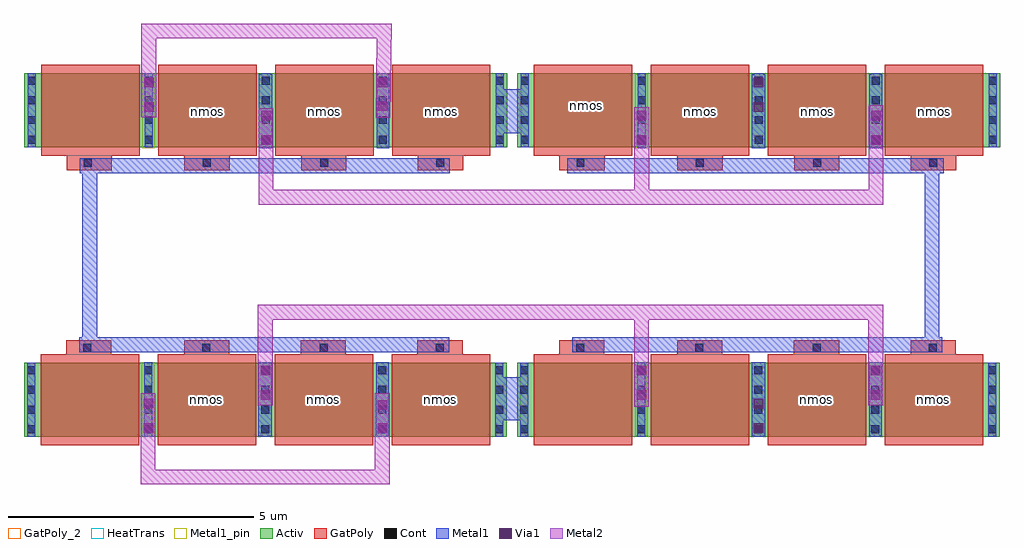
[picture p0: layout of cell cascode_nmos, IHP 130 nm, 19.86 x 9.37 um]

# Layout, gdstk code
import gdstk
lib = gdstk.Library(unit=1e-6, precision=1e-09)
def R(c, l, rs):  # rectangles x0, y0, x1, y1
    for r in rs: c.add(gdstk.rectangle(r[:2], r[2:], *l))
def A(c, l, x, y, w, h, nx, ny, dx, dy):  # array of equal rectangles
    R(c, l, [(x+i*dx, y+j*dy, x+i*dx+w, y+j*dy+h) for i in range(nx) for j in range(ny)])
Activ = (1, 0)
GatPoly = (5, 0)
GatPoly_2 = (5, 2)
Cont = (6, 0)
Metal1 = (8, 0)
Metal1_pin = (8, 2)
Metal2 = (10, 0)
Via1 = (19, 0)
HeatTrans = (51, 0)

nmos_2 = lib.new_cell('nmos$2')
A(nmos_2, Activ, 0, 0, 0.3, 0.3, 5, 1, 2.38, 0)
R(nmos_2, Activ, [(0,0,9.82,1.5)])
A(nmos_2, GatPoly, 0.34, -0.18, 2, 1.86, 4, 1, 2.38, 0)
R(nmos_2, GatPoly_2, [(0.34,-0.18,2.34,1.68)])
A(nmos_2, Cont, 0.07, 0.07, 0.16, 0.16, 5, 4, 2.38, 0.4)
A(nmos_2, Metal1, 0.07, 0, 0.16, 1.5, 5, 1, 2.38, 0)
R(nmos_2, Metal1_pin, [(0.07,0,0.23,1.5), (2.45,0,2.61,1.5)])
A(nmos_2, HeatTrans, 0.34, -0.18, 2, 1.86, 4, 1, 2.38, 0)
nmos_2.add(gdstk.Label('nmos', (1.34,0.75), layer=63, texttype=0))
nmos_2.add(gdstk.Label('nmos', (1.34,0.75), layer=51, texttype=0))
nmos_2.add(gdstk.Label('nmos', (3.72,0.75), layer=51, texttype=0))
nmos_2.add(gdstk.Label('nmos', (6.1,0.75), layer=51, texttype=0))
nmos_2.add(gdstk.Label('nmos', (8.48,0.75), layer=51, texttype=0))

cascode_nmos = lib.new_cell('cascode_nmos')
A(cascode_nmos, Activ, 2.475, -2.48, 0.3, 0.3, 3, 1, 2.38, 0)
A(cascode_nmos, GatPoly, -6.68, -2.025, 0.92, 0.3, 3, 1, 2.375, 0)
A(cascode_nmos, GatPoly, 3.35, -2.025, 0.92, 0.3, 3, 1, 2.375, 0)
A(cascode_nmos, GatPoly, -6.67, 1.725, 0.92, 0.3, 3, 1, 2.375, 0)
A(cascode_nmos, GatPoly, 3.355, 1.725, 0.92, 0.3, 3, 1, 2.375, 0)
R(cascode_nmos, GatPoly, [(-9.08,-2.025,-8.16,-1.725), (0.95,-2.025,1.87,-1.725), (-9.07,1.725,-8.15,2.025), (0.955,1.725,1.875,2.025)])
R(cascode_nmos, Cont, [(-8.73,-1.96,-8.57,-1.8), (-6.305,-1.96,-6.145,-1.8), (-3.915,-1.96,-3.755,-1.8), (-1.555,-1.96,-1.395,-1.8), (1.3,-1.96,1.46,-1.8), (3.725,-1.96,3.885,-1.8), (6.115,-1.96,6.275,-1.8), (8.475,-1.96,8.635,-1.8), (-8.72,1.8,-8.56,1.96), (-6.295,1.8,-6.135,1.96), (-3.905,1.8,-3.745,1.96), (-1.545,1.8,-1.385,1.96), (1.305,1.8,1.465,1.96), (3.73,1.8,3.89,1.96), (6.12,1.8,6.28,1.96), (8.48,1.8,8.64,1.96)])
R(cascode_nmos, Metal1, [(-7.485,-3.68,-7.325,-2.18), (-5.165,-3.68,-4.89,-2.18), (-2.77,-3.68,-2.515,-2.18), (4.865,-3.68,5.14,-2.18), (7.26,-3.68,7.515,-2.18), (-0.28,-3.355,0.255,-2.48), (-5.155,2.18,-4.88,3.68), (-2.76,2.18,-2.505,3.68), (2.55,2.18,2.71,3.68), (4.87,2.18,5.145,3.68), (7.265,2.18,7.52,3.68), (-0.23,2.48,0.235,3.375)])
R(cascode_nmos, Metal1_pin, [(-7.535,-3.68,-7.285,-2.18), (2.495,-3.68,2.745,-2.18), (-7.525,2.18,-7.275,3.68), (2.5,2.18,2.75,3.68)])
R(cascode_nmos, Via1, [(-7.5,-3.61,-7.31,-3.42), (-2.74,-3.61,-2.55,-3.42), (4.91,-3.61,5.1,-3.42), (-2.74,-3.145,-2.55,-2.955), (-7.5,-3.11,-7.31,-2.92), (4.91,-3.11,5.1,-2.92), (-5.12,-2.94,-4.93,-2.75), (2.53,-2.94,2.72,-2.75), (7.29,-2.94,7.48,-2.75), (-5.12,-2.44,-4.93,-2.25), (2.53,-2.44,2.72,-2.25), (7.29,-2.44,7.48,-2.25), (-5.11,2.25,-4.92,2.44), (2.535,2.25,2.725,2.44), (7.3,2.25,7.49,2.44), (-5.11,2.75,-4.92,2.94), (2.535,2.75,2.725,2.94), (7.3,2.75,7.49,2.94), (-7.49,2.92,-7.3,3.11), (4.915,2.92,5.105,3.11), (-2.73,2.94,-2.54,3.13), (-7.49,3.42,-7.3,3.61), (-2.73,3.42,-2.54,3.61), (4.915,3.42,5.105,3.61)])
cascode_nmos.add(gdstk.FlexPath([(8.745,-1.82),(1.215,-1.82)], 0.3, ends="flush", simple_path=True, layer=8, datatype=0))  # Metal1
cascode_nmos.add(gdstk.FlexPath([(8.775,1.82),(1.12,1.82)], 0.3, ends="flush", simple_path=True, layer=8, datatype=0))  # Metal1
cascode_nmos.add(gdstk.FlexPath([(-1.285,-1.82),(-8.815,-1.82)], 0.3, ends="flush", simple_path=True, layer=8, datatype=0))  # Metal1
cascode_nmos.add(gdstk.FlexPath([(-1.275,1.82),(-8.805,1.82)], 0.3, ends="flush", simple_path=True, layer=8, datatype=0))  # Metal1
cascode_nmos.add(gdstk.FlexPath([(-8.595,1.8),(-8.595,-1.82)], 0.3, ends="flush", simple_path=True, layer=8, datatype=0))  # Metal1
cascode_nmos.add(gdstk.FlexPath([(8.535,1.8),(8.535,-1.8)], 0.3, ends="flush", simple_path=True, layer=8, datatype=0))  # Metal1
cascode_nmos.add(gdstk.FlexPath([(-5.01,2.99),(-5.01,1.18),(2.63,1.18),(2.63,3.01)], 0.3, ends="flush", simple_path=True, layer=10, datatype=0))  # Metal2
cascode_nmos.add(gdstk.FlexPath([(7.4,3.05),(7.4,1.18),(2.63,1.18)], 0.3, ends="flush", simple_path=True, layer=10, datatype=0))  # Metal2
cascode_nmos.add(gdstk.FlexPath([(7.39,-3.05),(7.39,-1.16),(2.625,-1.16),(2.625,-3.085)], 0.3, ends="flush", simple_path=True, layer=10, datatype=0))  # Metal2
cascode_nmos.add(gdstk.FlexPath([(-5.025,-3.05),(-5.025,-1.16),(2.625,-1.16)], 0.3, ends="flush", simple_path=True, layer=10, datatype=0))  # Metal2
cascode_nmos.add(gdstk.FlexPath([(-7.41,-2.81),(-7.41,-4.51),(-2.645,-4.51),(-2.645,-2.81)], 0.3, ends="flush", simple_path=True, layer=10, datatype=0))  # Metal2
cascode_nmos.add(gdstk.FlexPath([(-7.395,2.81),(-7.395,4.56),(-2.61,4.56),(-2.63,2.8)], 0.3, ends="flush", simple_path=True, layer=10, datatype=0))  # Metal2
cascode_nmos.add(gdstk.Reference(nmos_2, (-9.935,-3.69)))
cascode_nmos.add(gdstk.Reference(nmos_2, (0.095,-3.69)))
cascode_nmos.add(gdstk.Reference(nmos_2, (-9.925,2.2)))
cascode_nmos.add(gdstk.Reference(nmos_2, (0.1,2.2)))
cascode_nmos.add(gdstk.Label('nmos', (-6.205,2.93), layer=51, texttype=0))
cascode_nmos.add(gdstk.Label('nmos', (-3.825,2.93), layer=51, texttype=0))
cascode_nmos.add(gdstk.Label('nmos', (-1.445,2.93), layer=51, texttype=0))
cascode_nmos.add(gdstk.Label('nmos', (8.575,-2.93), layer=51, texttype=0))
cascode_nmos.add(gdstk.Label('nmos', (6.195,-2.93), layer=51, texttype=0))
cascode_nmos.add(gdstk.Label('nmos', (8.58,2.93), layer=51, texttype=0))
cascode_nmos.add(gdstk.Label('nmos', (6.2,2.93), layer=51, texttype=0))
cascode_nmos.add(gdstk.Label('nmos', (3.82,2.93), layer=51, texttype=0))
cascode_nmos.add(gdstk.Label('nmos', (1.5,3.055), layer=51, texttype=0))
cascode_nmos.add(gdstk.Label('nmos', (-1.455,-2.93), layer=51, texttype=0))
cascode_nmos.add(gdstk.Label('nmos', (-3.835,-2.93), layer=51, texttype=0))
cascode_nmos.add(gdstk.Label('nmos', (-6.215,-2.93), layer=51, texttype=0))

lib.write_gds('cascode_nmos.gds')
